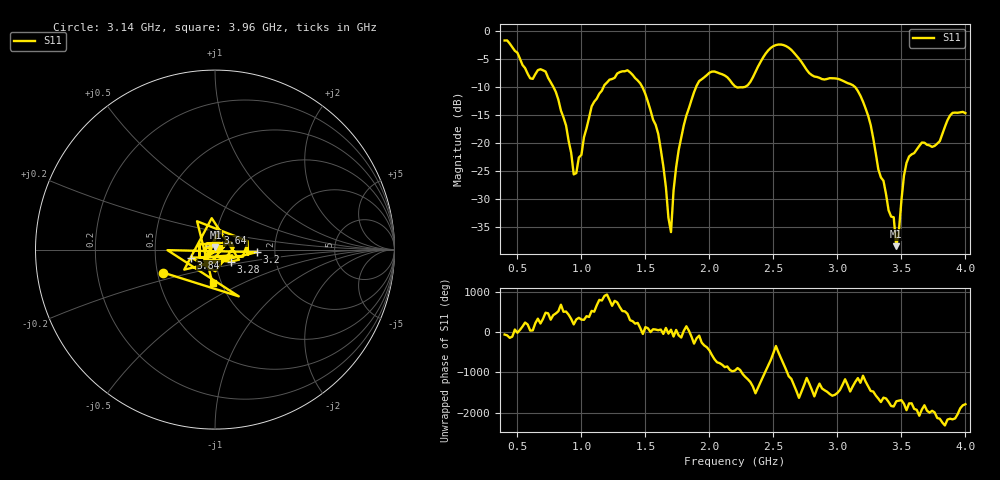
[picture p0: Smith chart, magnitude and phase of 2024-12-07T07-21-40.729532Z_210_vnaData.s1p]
!Created with skrf (http://scikit-rf.org).
# Hz S RI R 50.0
!freq ReS11 ImS11
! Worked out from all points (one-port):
!   181 points, 400 MHz to 4 GHz, reference 50 ohm
!   lowest |S11| = -38.4 dB at 3.46 GHz (marker M1), VSWR 1.02, Z = 50.2 + j1.19 ohm
!   |S11| at or under -10 dB: 781.8 MHz to 1.172 GHz (390.7 MHz wide, 40 % of centre); 1.476 GHz to 1.896 GHz (419.4 MHz wide, 24.9 % of centre); 3.139 GHz to end of sweep (the widest 3 of 4)
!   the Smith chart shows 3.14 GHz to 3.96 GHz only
!   S11 on the Smith chart (normalised r, x): 3.14 GHz: 0.54, -0.15; 3.2 GHz: 1.61, -0.05; 3.28 GHz: 1.18, -0.16; 3.64 GHz: 1.01, +0.19; 3.84 GHz: 0.76, -0.07; 3.96 GHz: 0.91, -0.35
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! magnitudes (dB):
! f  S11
! 400 MHz  -1.7
! 600 MHz  -8.4
! 720 MHz  -7.2
! 860 MHz  -15.4
! 960 MHz  -25.3
! 1.08 GHz  -13.4
! 1.3 GHz  -7.3
! 1.46 GHz  -9.3
! 1.58 GHz  -16.7
! 1.7 GHz  -35.8
! 1.72 GHz  -28.4
! 1.76 GHz  -21.2
! 1.92 GHz  -8.9
! 2.2 GHz  -9.9
! 2.5 GHz  -2.7
! 2.66 GHz  -3.9
! 3.1 GHz  -9.4
! 3.14 GHz  -10.0
! 3.2 GHz  -12.6
! 3.28 GHz  -19.1
! 3.44 GHz  -33.2
! 3.46 GHz  -38.4
! 3.52 GHz  -25.8
! 3.56 GHz  -22.4
! 3.64 GHz  -20.5
! 3.84 GHz  -17.1
! 3.96 GHz  -14.5
! 4 GHz  -14.6
